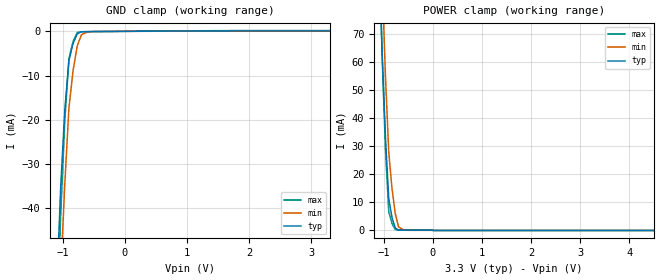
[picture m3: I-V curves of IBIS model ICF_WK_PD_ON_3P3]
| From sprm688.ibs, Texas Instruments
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|   Model Cell ICF_WK_PD_ON_3P3
|ICF_WK_PD_ON_3P3
[Model]   ICF_WK_PD_ON_3P3
Model_type   Input
Polarity   Non-Inverting
Vinl =  0.8
Vinh =  2
C_comp   0.705929p   0.524756p   0.819798p
[Model Spec]
Vinl   0.8   0.8   0.8
Vinh   2   2   2
[Temperature Range]   25   155   -40
[Voltage Range]   3.3   2.97   3.63
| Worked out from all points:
|   GND clamp passes 1 mA (typ) near -0.78 V on its own axis
|   POWER clamp passes 1 mA (typ) near -0.77 V on its own axis
| Nom Voltages:
|   BIASFET=3.3, VDD=1.2, VDDS=3.3, VSS=0
| Min Voltages:
|   BIASFET=2.97, VDD=1.08, VDDS=2.97, VSS=0
| Max Voltages:
|   BIASFET=3.63, VDD=1.32, VDDS=3.63, VSS=0
[POWER_clamp]
|   voltage   I(typ)   I(min)   I(max)
-3.3V     1.823A     2.351A     1.96A
-1.1V     100.7mA    129.7mA    104mA
-1.033V   62.87mA    88.79mA    61.41mA
-966.7mV  33.08mA    54.88mA    28.95mA
-900mV    11.36mA    27.99mA    6.655mA
-833.3mV  4.591mA    14.88mA    2.454mA
-766.7mV  850.2uA    5.974mA    296.5uA
-700mV    142.4uA    1.28mA     181.4uA
-566.7mV  108.3uA    127.8uA    179.2uA
-500mV    107.6uA    60.24uA    179.1uA
6.6V      0A         0A         0A
[GND_clamp]
|   voltage   I(typ)   I(min)   I(max)
-3.3V     -1.38A     -1.323A    -2.074A
-1.1V     -59.6mA    -79.12mA   -70.72mA
-1.033V   -35.49mA   -55.25mA   -41.83mA
-966.7mV  -17.83mA   -34.66mA   -20.31mA
-900mV    -6.601mA   -17.33mA   -6.147mA
-833.3mV  -2.744mA   -8.865mA   -2.295mA
-766.7mV  -576.6uA   -3.351mA   -278.5uA
-700mV    -97.45uA   -787.6uA   -98.32uA
-566.7mV  -53.29uA   -89.33uA   -76.73uA
3.3V      107.2uA    51.38uA    177.9uA
